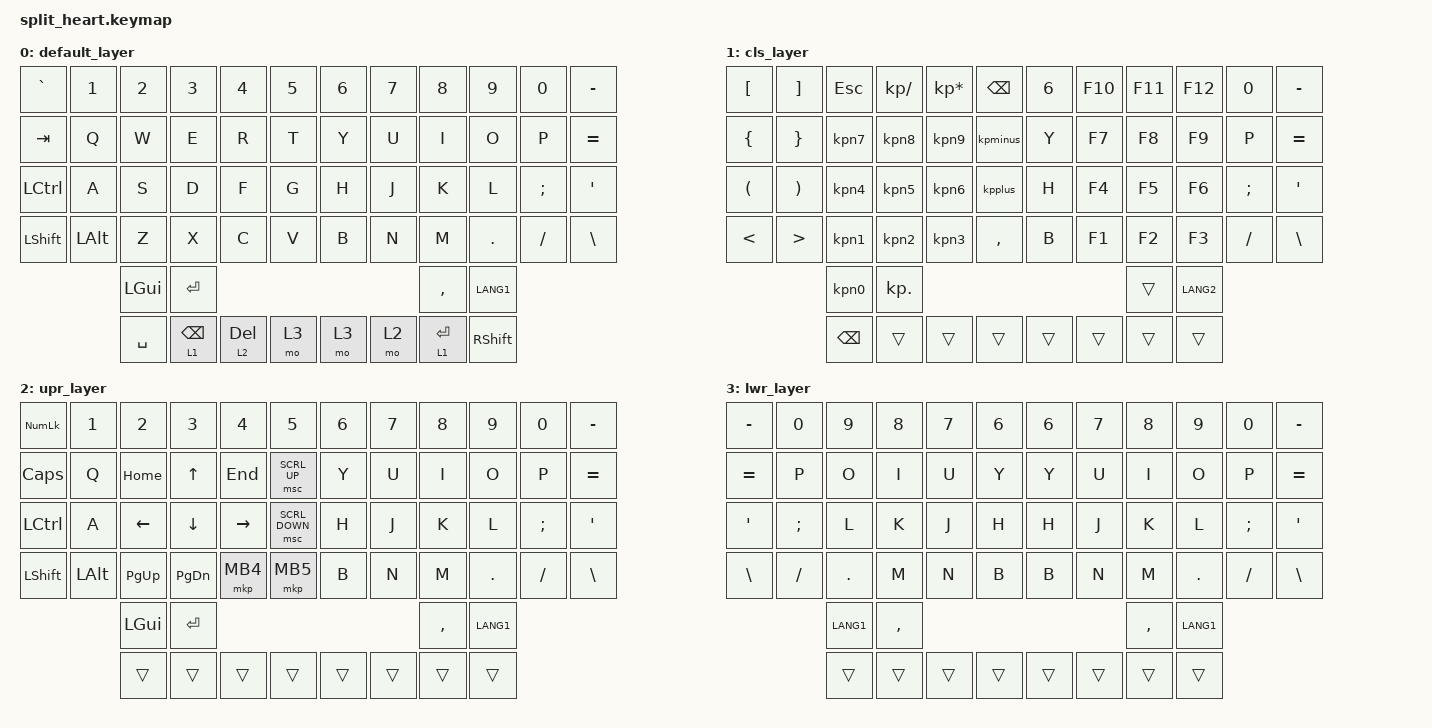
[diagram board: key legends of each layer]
/*
*
* Copyright (c) 2025 IREH CHOI
* SPDX-License-Identifier: MIT
*
*/

#include <behaviors.dtsi>
#include <dt-bindings/zmk/keys.h>
#include <dt-bindings/zmk/bt.h>
#include <dt-bindings/zmk/pointing.h>

#define DEFAULT 0
#define CLOSE   1
#define UPPER   2
#define LOWER   3

#define ZMK_POINTING_DEFAULT_MOVE_VAL 1500  // default: 600
#define ZMK_POINTING_DEFAULT_SCRL_VAL 20    // default: 10

#define KP_MULT KP_MULTIPLY
#define KP_DIV KP_DIVIDE
#define KP_COM KP_COMMA

&lt {
    tapping-term-ms = <200>; // This is the value already set by default
};

/ {
    chosen {
        zmk,matrix_transform = &default_transform;
    };
};


/ {
    behaviors {
        kpn1: kpn1_shiftn1 {
            compatible = "zmk,behavior-mod-morph";
            #binding-cells = <0>;
            bindings = <&kp KP_N1>, <&kp EXCL>;
            mods = <(MOD_LSFT|MOD_RSFT)>;
        };
        kpn2: kpn2_shiftn2 {
            compatible = "zmk,behavior-mod-morph";
            #binding-cells = <0>;
            bindings = <&kp KP_N2>, <&kp AT>;
            mods = <(MOD_LSFT|MOD_RSFT)>;
        };
        kpn3: kpn3_shiftn3 {
            compatible = "zmk,behavior-mod-morph";
            #binding-cells = <0>;
            bindings = <&kp KP_N3>, <&kp POUND>;
            mods = <(MOD_LSFT|MOD_RSFT)>;
        };
        kpn4: kpn4_shiftn4 {
            compatible = "zmk,behavior-mod-morph";
            #binding-cells = <0>;
            bindings = <&kp KP_N4>, <&kp DLLR>;
            mods = <(MOD_LSFT|MOD_RSFT)>;
        };
        kpn5: kpn5_shiftn5 {
            compatible = "zmk,behavior-mod-morph";
            #binding-cells = <0>;
            bindings = <&kp KP_N5>, <&kp PRCNT>;
            mods = <(MOD_LSFT|MOD_RSFT)>;
        };
        kpn6: kpn6_shiftn6 {
            compatible = "zmk,behavior-mod-morph";
            #binding-cells = <0>;
            bindings = <&kp KP_N6>, <&kp CARET>;
            mods = <(MOD_LSFT|MOD_RSFT)>;
        };
        kpn7: kpn7_shiftn7 {
            compatible = "zmk,behavior-mod-morph";
            #binding-cells = <0>;
            bindings = <&kp KP_N7>, <&kp AMPS>;
            mods = <(MOD_LSFT|MOD_RSFT)>;
        };
        kpn8: kpn8_shiftn8 {
            compatible = "zmk,behavior-mod-morph";
            #binding-cells = <0>;
            bindings = <&kp KP_N8>, <&kp ASTRK>;
            mods = <(MOD_LSFT|MOD_RSFT)>;
        };
        kpn9: kpn9_shiftn9 {
            compatible = "zmk,behavior-mod-morph";
            #binding-cells = <0>;
            bindings = <&kp KP_N9>, <&kp LPAR>;
            mods = <(MOD_LSFT|MOD_RSFT)>;
        };
        kpn0: kpn0_shiftn0 {
            compatible = "zmk,behavior-mod-morph";
            #binding-cells = <0>;
            bindings = <&kp KP_N0>, <&kp RPAR>;
            mods = <(MOD_LSFT|MOD_RSFT)>;
        };

        kpminus: kpminus_under {
            compatible = "zmk,behavior-mod-morph";
            #binding-cells = <0>;
            bindings = <&kp KP_MINUS>, <&kp UNDERSCORE>;
            mods = <(MOD_LSFT|MOD_RSFT)>;
        };

        kpplus: kpplus_equal {
            compatible = "zmk,behavior-mod-morph";
            #binding-cells = <0>;
            bindings = <&kp KP_PLUS>, <&kp EQUAL>;
            mods = <(MOD_LSFT|MOD_RSFT)>;
        };



    };
    
    conditional_layers {
    };

    
    keymap {
        compatible = "zmk,keymap";
        
        default_layer {
            bindings = <
&kp GRAVE   &kp N1      &kp N2      &kp N3      &kp N4      &kp N5          &kp N6      &kp N7      &kp N8      &kp N9      &kp N0      &kp MINUS 
&kp TAB     &kp Q       &kp W       &kp E       &kp R       &kp T           &kp Y       &kp U       &kp I       &kp O       &kp P       &kp EQUAL
&kp LCTRL   &kp A       &kp S       &kp D       &kp F       &kp G           &kp H       &kp J       &kp K       &kp L       &kp SEMI    &kp SQT
&kp LSHFT   &kp LALT    &kp Z       &kp X       &kp C       &kp V           &kp B       &kp N       &kp M       &kp DOT     &kp SLASH   &kp BSLH
                        &kp LGUI    &kp ENTER                                                       &kp COMMA   &kp LANG1       
                        &kp SPACE   &lt 1 BSPC  &lt 2 DEL   &mo 3           &mo 3       &mo 2       &lt 1 ENTER &kp RSHFT
            >;
        };

        cls_layer {
            bindings = <
&kp LBKT    &kp RBKT    &kp ESC     &kp KP_DIV  &kp KP_MULT &kp BSPC        &kp N6      &kp F10     &kp F11     &kp F12     &kp N0      &kp MINUS 
&kp LBRC    &kp RBRC    &kpn7       &kpn8       &kpn9       &kpminus        &kp Y       &kp F7      &kp F8      &kp F9      &kp P       &kp EQUAL
&kp LPAR    &kp RPAR    &kpn4       &kpn5       &kpn6       &kpplus         &kp H       &kp F4      &kp F5      &kp F6      &kp SEMI    &kp SQT
&kp LT      &kp GT      &kpn1       &kpn2       &kpn3       &kp COMMA       &kp B       &kp F1      &kp F2      &kp F3      &kp SLASH   &kp BSLH
                        &kpn0       &kp KP_DOT                                                      &trans      &kp LANG2       
                        &kp BSPC    &trans      &trans      &trans          &trans      &trans      &trans      &trans 
            >;
        };


        upr_layer {
            bindings = <
&kp KP_NUM  &kp N1      &kp N2      &kp N3      &kp N4      &kp N5          &kp N6      &kp N7      &kp N8      &kp N9      &kp N0      &kp MINUS 
&kp CAPS    &kp Q       &kp HOME    &kp UP      &kp END     &msc SCRL_UP    &kp Y       &kp U       &kp I       &kp O       &kp P       &kp EQUAL
&kp LCTRL   &kp A       &kp LEFT    &kp DOWN    &kp RIGHT   &msc SCRL_DOWN  &kp H       &kp J       &kp K       &kp L       &kp SEMI    &kp SQT
&kp LSHFT   &kp LALT    &kp PG_UP   &kp PG_DN   &mkp MB4    &mkp MB5        &kp B       &kp N       &kp M       &kp DOT     &kp SLASH   &kp BSLH
                        &kp LGUI    &kp ENTER                                                       &kp COMMA   &kp LANG1       
                        &trans      &trans      &trans      &trans          &trans      &trans      &trans      &trans 
            >;
        };

        lwr_layer {
            bindings = <
&kp MINUS   &kp N0      &kp N9      &kp N8      &kp N7      &kp N6          &kp N6      &kp N7      &kp N8      &kp N9      &kp N0      &kp MINUS 
&kp EQUAL   &kp P       &kp O       &kp I       &kp U       &kp Y           &kp Y       &kp U       &kp I       &kp O       &kp P       &kp EQUAL
&kp SQT     &kp SEMI    &kp L       &kp K       &kp J       &kp H           &kp H       &kp J       &kp K       &kp L       &kp SEMI    &kp SQT
&kp BSLH    &kp SLASH   &kp DOT     &kp M       &kp N       &kp B           &kp B       &kp N       &kp M       &kp DOT     &kp SLASH   &kp BSLH
                        &kp LANG1   &kp COMMA                                                       &kp COMMA   &kp LANG1       
                        &trans      &trans      &trans      &trans          &trans      &trans      &trans      &trans 
            >;
        };


    };
};
